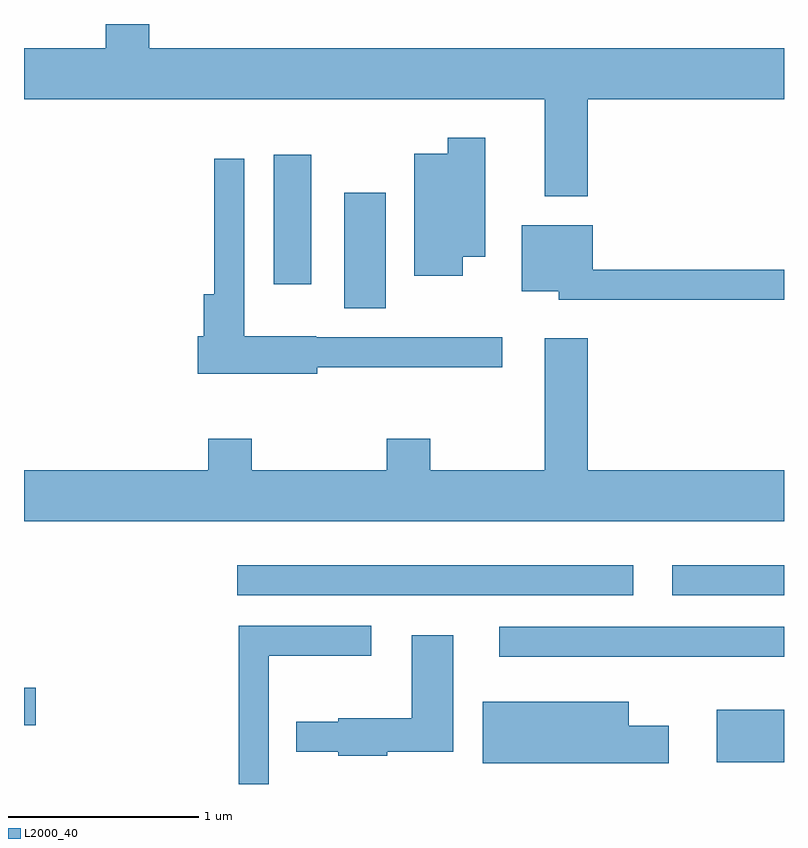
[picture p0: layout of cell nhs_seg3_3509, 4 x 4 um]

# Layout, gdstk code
import gdstk
lib = gdstk.Library(unit=1e-6, precision=1e-09)
def R(c, l, rs):  # rectangles x0, y0, x1, y1
    for r in rs: c.add(gdstk.rectangle(r[:2], r[2:], *l))
def P(c, l, *ps):  # polygons
    for p in ps: c.add(gdstk.Polygon(p, *l))
L2000_40 = (2000, 40)

nhs_seg3_3509 = lib.new_cell('nhs_seg3_3509')
R(nhs_seg3_3509, L2000_40, [(291.256,1198.006,291.611,1198.284), (287.611,1198.201,287.674,1198.399), (290.113,1198.561,291.611,1198.719), (288.733,1198.886,290.818,1199.044), (291.023,1198.886,291.611,1199.044), (289.296,1200.396,289.514,1201.004), (288.926,1200.521,289.124,1201.204)])
P(nhs_seg3_3509, L2000_40, [(290.579,1201.496),(291.611,1201.496),(291.611,1201.764),(288.269,1201.764),(288.269,1201.892),(288.041,1201.892),(288.041,1201.764),(287.611,1201.764),(287.611,1201.496),(290.351,1201.496),(290.351,1200.986),(290.579,1200.986)],
  [(289.919,1200.666),(290.039,1200.666),(290.039,1201.294),(289.841,1201.294),(289.841,1201.209),(289.666,1201.209),(289.666,1200.566),(289.919,1200.566)],
  [(289.154,1200.086),(290.128,1200.086),(290.128,1200.244),(289.15,1200.244),(289.15,1200.249),(288.769,1200.249),(288.769,1201.183),(288.611,1201.183),(288.611,1200.469),(288.556,1200.469),(288.556,1200.249),(288.526,1200.249),(288.526,1200.051),(289.154,1200.051)],
  [(291.611,1200.599),(290.604,1200.599),(290.604,1200.834),(290.231,1200.834),(290.231,1200.486),(290.426,1200.486),(290.426,1200.441),(291.611,1200.441)],
  [(291.611,1199.544),(290.579,1199.544),(290.579,1200.239),(290.351,1200.239),(290.351,1199.544),(289.749,1199.544),(289.749,1199.709),(289.521,1199.709),(289.521,1199.544),(288.809,1199.544),(288.809,1199.709),(288.581,1199.709),(288.581,1199.544),(287.611,1199.544),(287.611,1199.276),(291.611,1199.276)],
  [(288.899,1198.566),(289.438,1198.566),(289.438,1198.724),(288.741,1198.724),(288.741,1197.892),(288.899,1197.892)],
  [(289.524,1198.061),(289.869,1198.061),(289.869,1198.674),(289.651,1198.674),(289.651,1198.239),(289.266,1198.239),(289.266,1198.219),(289.043,1198.219),(289.043,1198.061),(289.266,1198.061),(289.266,1198.041),(289.524,1198.041)],
  [(291.004,1198.199),(290.794,1198.199),(290.794,1198.324),(290.026,1198.324),(290.026,1198.001),(291.004,1198.001)])

lib.write_gds('nhs_seg3_3509.gds')
